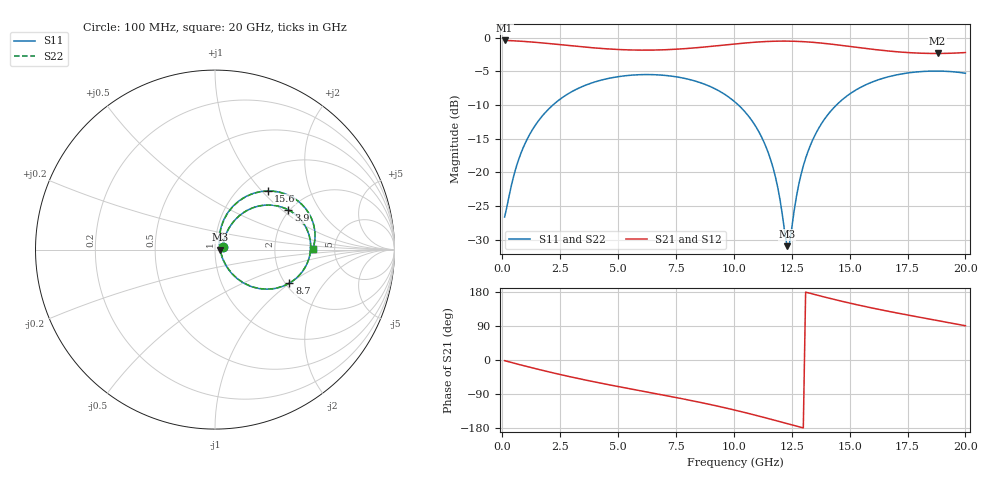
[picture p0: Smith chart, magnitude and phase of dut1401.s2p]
! Touchstone file exported from HFSS 2026.1.0
!  File:  C:/ffzhzh/LocalFiles/Ansys_Project_Files/temp_train_TSV_RDL_1401_1783351725_4416.aedt
!  Generated:  11:38:36 PM Jul  6, 2026
!  Design:  TSV_RDL
!  Project:  temp_train_TSV_RDL_1401_1783351725_4416
! Variables:
!  h_bsmrdl = 3.43um
!  h_ox = 20um
!  h_rdl = 5um
!  h_sub = 58.87um
!  h_tmrdl = 2.07um
!  h_tsv = 58.87um
!  h_via = 3um
!  l_bsmrdl = 144.53um
!  l_sub = 4420.85um
!  l_tmrdl = 868.15um
!  m_sub = 200um
!  pitch = 41.93um
!  r_tsv = 14.15um
!  s_tmrdl = 10um
!  w_bsmrdl = 24.36um
!  w_sub = 500um
!  w_tmrdl = 13.86um
!  x_tsv_center1 = 875.08um
!  x_tsv_center2 = 1043.97um
!  x_tsv_center3 = 1925.98um
!  x_tsv_center4 = 2094.87um
!  x_tsv_center5 = 2976.88um
!  x_tsv_center6 = 3145.77um
# GHz S MA R 50.000000
! Terminal data exported
! Port[1] = TM_RDL1_1_T1
! Port[2] = TM_RDL5_1_T1
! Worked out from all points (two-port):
!   200 points, 100 MHz to 20 GHz, reference 50 ohm
!   highest |S21| = -0.39 dB at 100 MHz (marker M1); lowest = -2.3 dB at 18.8 GHz (marker M2)
!   |S21| within 3 dB of the highest: start of sweep to end of sweep
!   lowest |S11| = -31.0 dB at 12.3 GHz (marker M3), VSWR 1.06, Z = 52.9 - j0.131 ohm
!   |S11| at or under -10 dB: start of sweep to 2.18 GHz; 10.2 GHz to 14.43 GHz (4.224 GHz wide, 34.3 % of centre)
!   |S22| runs from -30.6 to -4.9 dB; largest |S21 - S12| = 1.8e-14
!   S11 on the Smith chart (normalised r, x): 100 MHz: 1.09, +0.03; 3.9 GHz: 1.97, +1.11; 8.7 GHz: 2.10, -0.99; 15.6 GHz: 1.33, +1.08; 20 GHz: 3.40, +0.04
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0.1  0.04665 19.9  0.9565 -1.7  0.9565 -1.7  0.04665 19.9
! Gamma 0 0 0 0
! Port Impedance 50 0 50 0
0.6  0.1095 55.0  0.9485 -9.9  0.9485 -9.9  0.1095 55.0
1.3  0.2074 55.6  0.9306 -20.8  0.9306 -20.8  0.2074 55.6
2.2  0.3185 47.4  0.901 -34.1  0.901 -34.1  0.3185 47.4
3.5  0.438 32.9  0.8561 -51.7  0.8561 -51.7  0.438 32.9
3.9  0.4646 28.4  0.844 -56.8  0.844 -56.8  0.4645 28.5
5.4  0.5249 12.1  0.8143 -74.7  0.8143 -74.7  0.5249 12.2
6.8  0.5298 -2.9  0.8134 -90.8  0.8134 -90.8  0.5298 -2.8
8.7  0.4549 -24.3  0.854 -113.8  0.854 -113.8  0.4548 -24.1
10.1  0.328 -41.4  0.9027 -133.0  0.9027 -133.0  0.328 -41.2
10.9  0.226 -51.0  0.9279 -145.2  0.9279 -145.2  0.226 -50.7
11.5  0.138 -55.7  0.9409 -154.7  0.9409 -154.7  0.1381 -55.2
11.9  0.07674 -52.4  0.9453 -161.2  0.9453 -161.2  0.0771 -51.5
12.3  0.02831 -2.5  0.9459 -167.8  0.9459 -167.8  0.02956 -1.7
12.4  0.02949 28.9  0.9454 -169.4  0.9454 -169.4  0.03076 28.3
12.9  0.09626 73.8  0.939 -177.6  0.939 -177.6  0.09676 73.1
13.4  0.1735 73.5  0.9268 174.3  0.9268 174.3  0.1738 73.1
14.3  0.3004 63.9  0.894 160.3  0.894 160.3  0.3006 63.7
15.6  0.4397 48.0  0.838 142.0  0.838 142.0  0.4399 47.9
16.7  0.5151 35.3  0.7978 128.2  0.7978 128.2  0.5152 35.2
18.8  0.5666 13.0  0.7655 104.1  0.7655 104.1  0.5667 12.9
20  0.5458 0.4  0.7778 90.4  0.7778 90.4  0.5459 0.4
